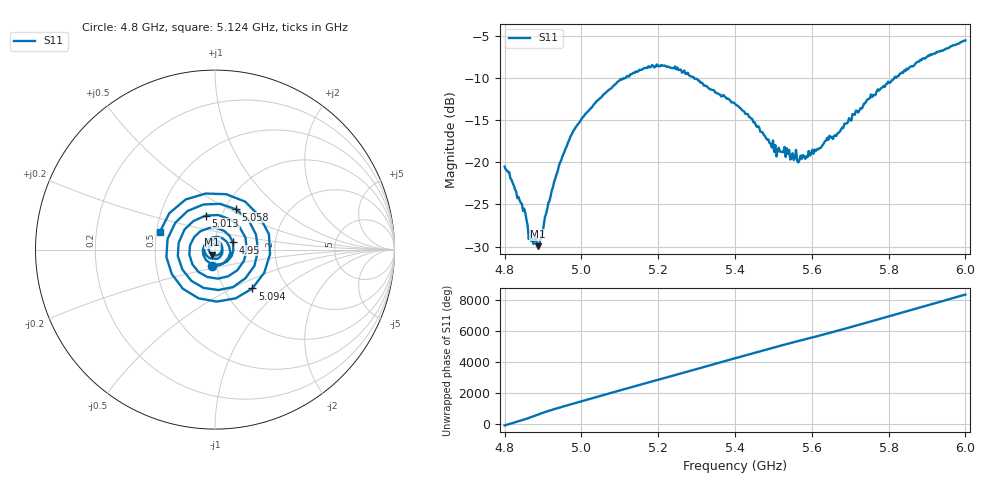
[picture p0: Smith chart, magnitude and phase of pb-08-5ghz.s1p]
! NanoVNA-App
! Date: 2026-05-22 17:29:44
! Start: 4.8GHz Stop: 6GHz Points: 401
! S-Parameter data: F S11
# Hz S RI R 50
!  Frequency  S11_Real  S11_Imag
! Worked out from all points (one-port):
!   401 points, 4.8 GHz to 6 GHz, reference 50 ohm
!   lowest |S11| = -30.0 dB at 4.887 GHz (marker M1), VSWR 1.07, Z = 48.4 - j2.67 ohm
!   |S11| at or under -10 dB: start of sweep to 5.114 GHz; 5.294 GHz to 5.815 GHz (521 MHz wide, 9.38 % of centre)
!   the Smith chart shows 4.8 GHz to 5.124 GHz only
!   S11 on the Smith chart (normalised r, x): 4.8 GHz: 0.95, -0.18; 4.95 GHz: 1.22, +0.10; 5.013 GHz: 0.84, +0.33; 5.058 GHz: 1.13, +0.54; 5.094 GHz: 1.35, -0.64; 5.124 GHz: 0.52, +0.12
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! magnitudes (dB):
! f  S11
! 4.8 GHz  -20.5
! 4.815 GHz  -21.9
! 4.848 GHz  -25.8
! 4.869 GHz  -29.3
! 4.887 GHz  -30.0
! 4.893 GHz  -29.2
! 4.926 GHz  -22.9
! 4.95 GHz  -19.4
! 4.977 GHz  -16.5
! 5.013 GHz  -14.1
! 5.058 GHz  -11.9
! 5.094 GHz  -10.4
! 5.1 GHz  -10.2
! 5.124 GHz  -9.8
! 5.181 GHz  -8.7
! 5.25 GHz  -8.8
! 5.4 GHz  -13.0
! 5.439 GHz  -14.7
! 5.502 GHz  -18.8
! 5.535 GHz  -18.3
! 5.55 GHz  -18.9
! 5.568 GHz  -19.7
! 5.616 GHz  -18.5
! 5.667 GHz  -16.5
! 5.7 GHz  -14.9
! 5.748 GHz  -12.5
! 5.85 GHz  -9.0
! 6 GHz  -5.5
